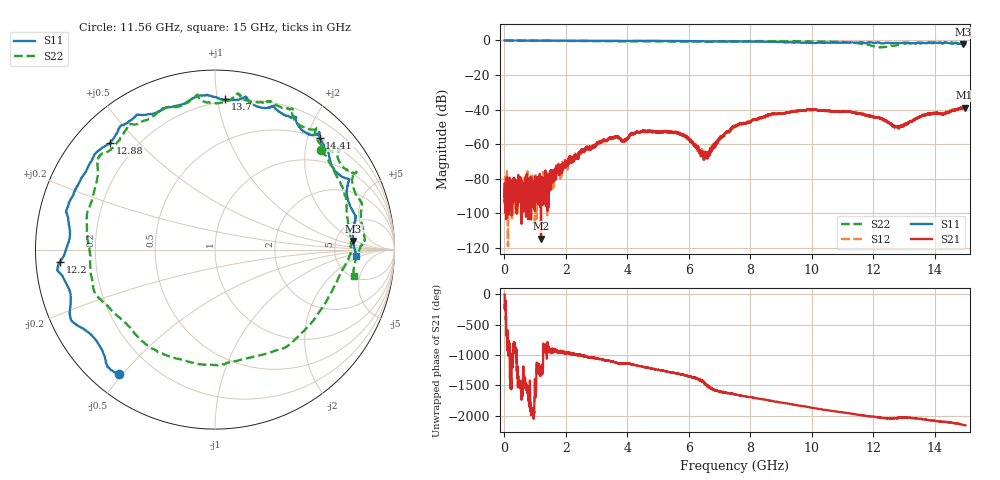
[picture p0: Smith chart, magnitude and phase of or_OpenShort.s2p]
!	Fieldfox Controller
!	Chapman University - Class ENG398
!	Introduction to RF - DMG (2024)
!Created with skrf (http://scikit-rf.org).
# Hz S RI R 50.0
!freq ReS11 ImS11 ReS21 ImS21 ReS12 ImS12 ReS22 ImS22
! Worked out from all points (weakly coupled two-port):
!   4001 points, 10 MHz to 15 GHz, reference 50 ohm
!   highest |S21| = -38.79 dB at 14.97 GHz (marker M1); lowest = -114.6 dB at 1.194 GHz (marker M2)
!   lowest |S11| = -2.3 dB at 14.94 GHz (marker M3), VSWR 7.76, Z = 366 + j88.4 ohm
!   |S11| at or under -10 dB: nowhere
!   |S22| runs from -4.0 to 0.0 dB; largest |S21 - S12| = 0.0012
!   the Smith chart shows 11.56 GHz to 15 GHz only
!   S11 on the Smith chart (normalised r, x): 11.56 GHz: 0.08, -0.49; 12.2 GHz: 0.07, -0.04; 12.88 GHz: 0.11, +0.41; 13.7 GHz: 0.19, +1.05; 14.41 GHz: 0.48, +2.22; 15 GHz: 8.08, -1.50
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1e7  0.9999 -0.0132  3.08e-05 -5.3e-07  -9.07e-06 -1.59e-05  -0.998 0.0135
1.19421e9  0.0495 -0.9894  -1.1e-06 -1.51e-06  -5.45e-06 -2.94e-05  -0.1298 0.9673
2.509582e9  -0.9796 0.00835  0.000171 0.000598  0.000145 0.000622  0.9547 0.1522
3.839945e9  -0.0359 0.9703  0.000602 -0.0011  0.000614 -0.00111  0.0208 -0.9485
5.009165e9  0.9153 0.3273  -0.00213 -0.000634  -0.00223 -0.000639  -0.9356 0.1058
6.107182e9  0.6139 -0.7324  0.000286 0.00113  0.000226 0.00112  0.1621 0.9058
6.564378e9  0.1594 -0.9249  0.000386 -0.000374  0.000312 -0.000494  0.6889 0.6162
7.505e9  -0.781 -0.5216  -0.00301 0.00149  -0.0029 0.00132  0.7967 -0.4914
8.19454e9  -0.8932 0.2635  -2.51e-05 0.0052  0.000485 0.00511  0.1649 -0.9426
8.955282e9  -0.2453 0.8689  0.00711 0.00297  0.0069 0.00319  -0.6147 -0.7185
1.000458e10  0.807 0.2795  0.00406 -0.00917  0.00426 -0.00872  -0.8867 0.261
1.087775e10  0.3788 -0.7803  -0.00592 -0.00626  -0.00605 -0.00611  -0.2269 0.8819
1.156354e10  -0.5375 -0.6948  -0.00752 0.00093  -0.00777 0.000793  0.5895 0.5569
1.189332e10  -0.8037 -0.3876  -0.00552 0.00307  -0.00588 0.00329  0.7422 -0.0554
1.220062e10  -0.8646 -0.0689  -0.00406 0.0041  -0.00379 0.00454  0.1978 -0.601
1.250416e10  -0.8046 0.282  -0.00175 0.00371  -0.0017 0.00377  -0.554 -0.3599
1.288266e10  -0.5861 0.5941  -0.00212 0.00254  -0.00186 0.00254  -0.6561 0.3979
1.369962e10  0.0564 0.8369  -0.000855 0.0071  -0.000879 0.00691  0.1476 0.8482
1.44079e10  0.5832 0.6229  0.00454 0.00688  0.00474 0.00726  0.6856 0.5058
1.493629e10  0.7702 0.0488  0.0109 0.00193  0.0112 0.00181  0.7952 -0.0246
1.497377e10  0.7826 -0.00969  0.0114 0.00123  0.0111 0.00104  0.7734 -0.0987
1.5e10  0.7856 -0.0354  0.0111 0.000353  0.011 -2.77e-05  0.7722 -0.1485
